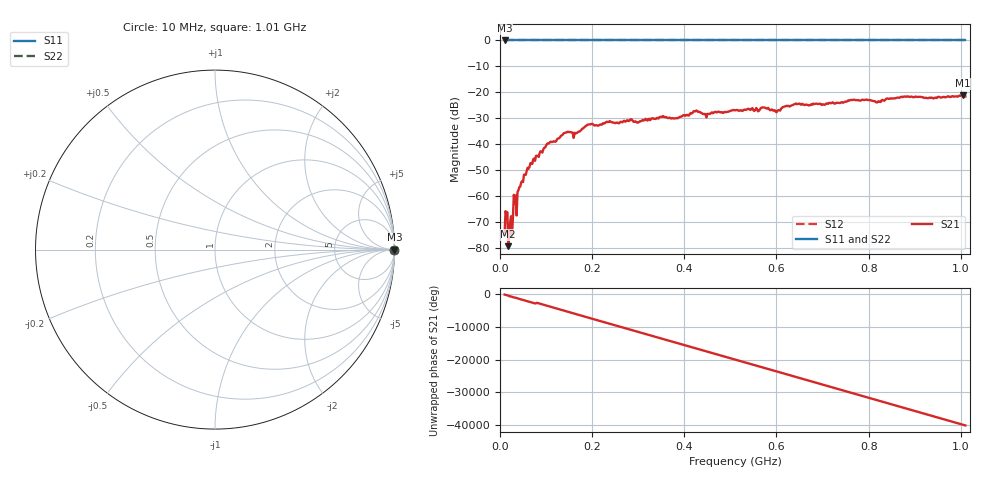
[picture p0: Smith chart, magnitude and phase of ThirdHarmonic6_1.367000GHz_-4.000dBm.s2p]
! 8/16/2025 3:27:46 PM
! C:\ANRITSUVNA\TEMP\TEMP.S2P
! CHANNEL.1
! TR.MEASUREMENT
! RAW.DATA
! RF.CORRECTION.OFF
! AVERAGING.OFF
! IF.BANDWIDTH: 5KHZ
! SWEEPTYPE:  FREQ.SWEEP(Linear)
! Reference Plane Port Info
! PORT:  PORT1  PORT2
! DISTANCE:  0  m  0  m
! TIME:  0  s  0  s
! PHASE.OFFSET:  0  deg.  0  deg.
! LOSS:  0  dB  0  dB
! REF.LOSS:  0  dB  0  dB
! REF.FREQ:  0  Hz  0  Hz
! Power Info
! POWER:  -20  dBm  -20  dBm
! EFF.POWER:  -20  dBm  -20  dBm
! SOURCE.ATTEN:  0  dB  0  dB
! TEST.ATTEN:  0  dB  0  dB
# GHZ S RI R 50.0
! FREQ.GHZ  S11RE  S11IM  S21RE  S21IM  S12RE  S12IM  S22RE  S22IM
!; PortSelection: Port_12
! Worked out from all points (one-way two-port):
!   501 points, 10 MHz to 1.01 GHz, reference 50 ohm
!   highest |S21| = -21.12 dB at 1.004 GHz (marker M1); lowest = -79.2 dB at 18 MHz (marker M2)
!   lowest |S11| = 0.0 dB at 10 MHz (marker M3)
!   |S11| at or under -10 dB: nowhere
!   |S22| runs from 0.0 to 0.0 dB; largest |S21 - S12| = 1.1
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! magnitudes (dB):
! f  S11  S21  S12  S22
! 10 MHz  0.0  -74.8  0.0  0.0
! 12 MHz  0.0  -65.7  0.0  0.0
! 18 MHz  0.0  -79.2  0.0  0.0
! 22 MHz  0.0  -70.0  0.0  0.0
! 26 MHz  0.0  -75.4  0.0  0.0
! 42 MHz  0.0  -56.4  0.0  0.0
! 70 MHz  0.0  -47.5  0.0  0.0
! 106 MHz  0.0  -39.7  0.0  0.0
! 142 MHz  0.0  -35.5  0.0  0.0
! 164 MHz  0.0  -35.7  0.0  0.0
! 178 MHz  0.0  -34.0  0.0  0.0
! 196 MHz  0.0  -32.3  0.0  0.0
! 344 MHz  0.0  -30.1  0.0  0.0
! 424 MHz  0.0  -27.3  0.0  0.0
! 510 MHz  0.0  -26.9  0.0  0.0
! 572 MHz  0.0  -25.8  0.0  0.0
! 602 MHz  0.0  -27.1  0.0  0.0
! 640 MHz  0.0  -24.5  0.0  0.0
! 678 MHz  0.0  -24.7  0.0  0.0
! 844 MHz  0.0  -22.5  0.0  0.0
! 1.004 GHz  0.0  -21.1  0.0  0.0
! 1.01 GHz  0.0  -21.6  0.0  0.0
